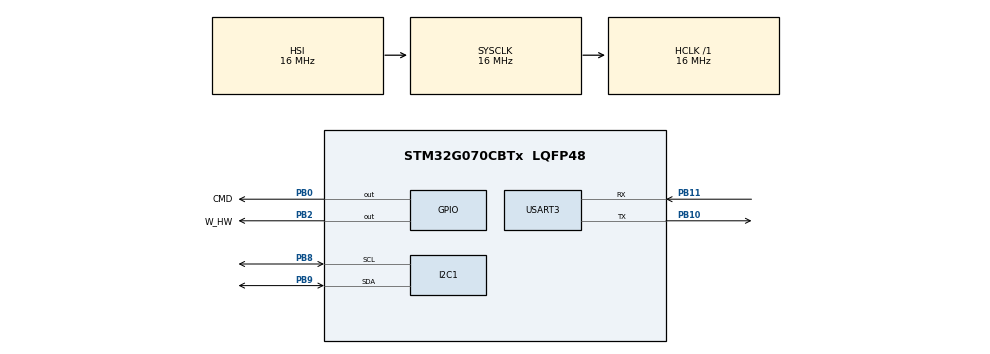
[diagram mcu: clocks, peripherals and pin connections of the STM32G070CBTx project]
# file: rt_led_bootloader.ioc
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Dma.Request0=USART3_RX
Dma.USART3_RX.0.Direction=DMA_PERIPH_TO_MEMORY
Dma.USART3_RX.0.EventEnable=DISABLE
Dma.USART3_RX.0.Instance=DMA1_Channel1
Dma.USART3_RX.0.MemDataAlignment=DMA_MDATAALIGN_BYTE
Dma.USART3_RX.0.MemInc=DMA_MINC_ENABLE
Dma.USART3_RX.0.Mode=DMA_CIRCULAR
Dma.USART3_RX.0.PeriphDataAlignment=DMA_PDATAALIGN_BYTE
Dma.USART3_RX.0.PeriphInc=DMA_PINC_DISABLE
Dma.USART3_RX.0.Polarity=HAL_DMAMUX_REQ_GEN_RISING
Dma.USART3_RX.0.Priority=DMA_PRIORITY_HIGH
Dma.USART3_RX.0.RequestNumber=1
Dma.USART3_RX.0.SignalID=NONE
Dma.USART3_RX.0.SyncEnable=DISABLE
Dma.USART3_RX.0.SyncPolarity=HAL_DMAMUX_SYNC_NO_EVENT
Dma.USART3_RX.0.SyncRequestNumber=1
Dma.USART3_RX.0.SyncSignalID=NONE
Mcu.Family=STM32G0
Mcu.Name=STM32G070CBTx
Mcu.Package=LQFP48
NVIC.DMA1_Channel1_IRQn=true\:0\:0\:false\:false\:true\:false\:true\:true
NVIC.TIM1_BRK_UP_TRG_COM_IRQn=true\:3\:0\:false\:false\:true\:false\:true\:true
NVIC.TimeBase=TIM1_BRK_UP_TRG_COM_IRQn
NVIC.TimeBaseIP=TIM1
NVIC.USART3_4_IRQn=true\:0\:0\:false\:false\:true\:true\:true\:true
PA13.Mode=Serial_Wire
PA13.Signal=SYS_SWDIO
PA14-BOOT0.Mode=Serial_Wire
PA14-BOOT0.Signal=SYS_SWCLK
PB0.GPIO_Label=CMD
PB0.PinState=GPIO_PIN_SET
PB0.Signal=GPIO_Output
PB10.Mode=Asynchronous
PB10.Signal=USART3_TX
PB11.Mode=Asynchronous
PB11.Signal=USART3_RX
PB2.GPIO_Label=W_HW
PB2.PinState=GPIO_PIN_SET
PB2.Signal=GPIO_Output
PB8.Mode=I2C
PB8.Signal=I2C1_SCL
PB9.Mode=I2C
PB9.Signal=I2C1_SDA
PC14-OSC32_IN\ (PC14).Mode=LSE-External-Oscillator
PC14-OSC32_IN\ (PC14).Signal=RCC_OSC32_IN
PC15-OSC32_OUT\ (PC15).Mode=LSE-External-Oscillator
PC15-OSC32_OUT\ (PC15).Signal=RCC_OSC32_OUT
PF0-OSC_IN\ (PF0).Mode=HSE-External-Oscillator
PF0-OSC_IN\ (PF0).Signal=RCC_OSC_IN
PF1-OSC_OUT\ (PF1).Mode=HSE-External-Oscillator
PF1-OSC_OUT\ (PF1).Signal=RCC_OSC_OUT
ProjectManager.HeapSize=0x200
ProjectManager.StackSize=0x400
ProjectManager.TargetToolchain=STM32CubeIDE
RCC.AHBFreq_Value=16000000
RCC.CortexFreq_Value=16000000
RCC.EXTERNAL_CLOCK_VALUE=48000
RCC.HCLKFreq_Value=16000000
RCC.HSE_VALUE=8000000
RCC.HSI_VALUE=16000000
RCC.SYSCLKFreq_VALUE=16000000
RCC.VCOOutputFreq_Value=128000000
USART3.VirtualMode-Asynchronous=VM_ASYNC
VP_SYS_VS_DBSignals.Mode=DisableDeadBatterySignals
VP_SYS_VS_tim1.Mode=TIM1
board=custom

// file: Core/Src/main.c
/* USER CODE BEGIN Header */
/**
 ******************************************************************************
 * @file           : main.c
 * @brief          : Main program body
 ******************************************************************************
 * @attention
 *
 * Copyright (c) 2023 STMicroelectronics.
 * All rights reserved.
 *
 * This software is licensed under terms that can be found in the LICENSE file
 * in the root directory of this software component.
 * If no LICENSE file comes with this software, it is provided AS-IS.
 *
 ******************************************************************************
 */
/* USER CODE END Header */
#include "main.h"

/* USER CODE BEGIN Includes */
#include "display.h"
#include "ble.h"
/* USER CODE END Includes */

I2C_HandleTypeDef hi2c1;

UART_HandleTypeDef huart3;
DMA_HandleTypeDef hdma_usart3_rx;

/* USER CODE BEGIN PV */
const uint32_t APPLICATION_ADDRESS = 0x8005000;
volatile uint8_t _huart3_buffer[2] = { 0 };
/* USER CODE END PV */

void SystemClock_Config(void);
static void MX_GPIO_Init(void);
static void MX_DMA_Init(void);
static void MX_I2C1_Init(void);
static void MX_USART3_UART_Init(void);

/* USER CODE BEGIN 0 */
void HAL_UART_ErrorCallback(UART_HandleTypeDef *huart) {
	if (huart == &huart3) {
		HAL_UART_Receive_DMA(huart, (uint8_t*) &_huart3_buffer[0], 2);
	}
}

void HAL_UART_RxCpltCallback(UART_HandleTypeDef *huart) {
	if (huart == &huart3) {
		ble_push_byte(_huart3_buffer[1]);
	}
}

void HAL_UART_RxHalfCpltCallback(UART_HandleTypeDef *huart) {
	if (huart == &huart3) {
		ble_push_byte(_huart3_buffer[0]);
	}
}

typedef void (*pFunction)(void);

static void jumpToApplication() {
	pFunction appEntry;
	uint32_t appStack;

	SysTick->CTRL = 0;
	SCB->ICSR |= SCB_ICSR_PENDSTCLR_Msk;

	HAL_DeInit();

	SCB->VTOR = APPLICATION_ADDRESS;
	appStack = (uint32_t) *((__IO uint32_t*) APPLICATION_ADDRESS);
	appEntry = (pFunction) *(__IO uint32_t*) (APPLICATION_ADDRESS + 4);

	__set_MSP(appStack);
	appEntry();

}

int _ble_module_connected = 0;
/* USER CODE END 0 */

int main(void)
{

  /* MCU Configuration--------------------------------------------------------*/

  /* Reset of all peripherals, Initializes the Flash interface and the Systick. */
  HAL_Init();

  /* Configure the system clock */
  SystemClock_Config();

  /* Initialize all configured peripherals */
  MX_GPIO_Init();
  MX_DMA_Init();
  MX_I2C1_Init();
  MX_USART3_UART_Init();
  /* USER CODE BEGIN 2 */

	// Init I2C Display
	display_init();

	HAL_UART_Receive_DMA(&huart3, (uint8_t *)&_huart3_buffer[0], 2);

	HAL_GPIO_WritePin(CMD_GPIO_Port, CMD_Pin, GPIO_PIN_RESET);
	HAL_Delay(10);
	HAL_GPIO_WritePin(CMD_GPIO_Port, CMD_Pin, GPIO_PIN_SET);

	// Draw dot matrix animation
	{
		dm_render_clear();
		for (int i = 0; i < 16; ++i) {
			dm_render_column_line(i);
			display_update();
			HAL_Delay(35);
		}
		dm_render_clear();
		display_update();
	}

	HAL_Delay(500);

	// Check if BLE module is connected
	{
		if (ble_module_is_connected()) {
			_ble_module_connected = 1;
			if (ble_module_dfu_available()) {
				ble_module_dfu_handle();
			}
		}
	}

	//ble_module_dfu_handle();

	jumpToApplication();
  /* USER CODE END 2 */

  /* Infinite loop */
	while (1) {

	}
}

void SystemClock_Config(void)
{
  RCC_OscInitTypeDef RCC_OscInitStruct = {0};
  RCC_ClkInitTypeDef RCC_ClkInitStruct = {0};

  /** Configure the main internal regulator output voltage
  */
  HAL_PWREx_ControlVoltageScaling(PWR_REGULATOR_VOLTAGE_SCALE1);

  /** Initializes the RCC Oscillators according to the specified parameters
  * in the RCC_OscInitTypeDef structure.
  */
  RCC_OscInitStruct.OscillatorType = RCC_OSCILLATORTYPE_HSI;
  RCC_OscInitStruct.HSIState = RCC_HSI_ON;
  RCC_OscInitStruct.HSIDiv = RCC_HSI_DIV1;
  RCC_OscInitStruct.HSICalibrationValue = RCC_HSICALIBRATION_DEFAULT;
  RCC_OscInitStruct.PLL.PLLState = RCC_PLL_NONE;
  if (HAL_RCC_OscConfig(&RCC_OscInitStruct) != HAL_OK)
  {
    Error_Handler();
  }

  /** Initializes the CPU, AHB and APB buses clocks
  */
  RCC_ClkInitStruct.ClockType = RCC_CLOCKTYPE_HCLK|RCC_CLOCKTYPE_SYSCLK
                              |RCC_CLOCKTYPE_PCLK1;
  RCC_ClkInitStruct.SYSCLKSource = RCC_SYSCLKSOURCE_HSI;
  RCC_ClkInitStruct.AHBCLKDivider = RCC_SYSCLK_DIV1;
  RCC_ClkInitStruct.APB1CLKDivider = RCC_HCLK_DIV1;

  if (HAL_RCC_ClockConfig(&RCC_ClkInitStruct, FLASH_LATENCY_0) != HAL_OK)
  {
    Error_Handler();
  }
}

static void MX_I2C1_Init(void)
{

  hi2c1.Instance = I2C1;
  hi2c1.Init.Timing = 0x00303D5B;
  hi2c1.Init.OwnAddress1 = 0;
  hi2c1.Init.AddressingMode = I2C_ADDRESSINGMODE_7BIT;
  hi2c1.Init.DualAddressMode = I2C_DUALADDRESS_DISABLE;
  hi2c1.Init.OwnAddress2 = 0;
  hi2c1.Init.OwnAddress2Masks = I2C_OA2_NOMASK;
  hi2c1.Init.GeneralCallMode = I2C_GENERALCALL_DISABLE;
  hi2c1.Init.NoStretchMode = I2C_NOSTRETCH_DISABLE;
  if (HAL_I2C_Init(&hi2c1) != HAL_OK)
  {
    Error_Handler();
  }

  /** Configure Analogue filter
  */
  if (HAL_I2CEx_ConfigAnalogFilter(&hi2c1, I2C_ANALOGFILTER_ENABLE) != HAL_OK)
  {
    Error_Handler();
  }

  /** Configure Digital filter
  */
  if (HAL_I2CEx_ConfigDigitalFilter(&hi2c1, 0) != HAL_OK)
  {
    Error_Handler();
  }

}

static void MX_USART3_UART_Init(void)
{

  huart3.Instance = USART3;
  huart3.Init.BaudRate = 115200;
  huart3.Init.WordLength = UART_WORDLENGTH_8B;
  huart3.Init.StopBits = UART_STOPBITS_1;
  huart3.Init.Parity = UART_PARITY_NONE;
  huart3.Init.Mode = UART_MODE_TX_RX;
  huart3.Init.HwFlowCtl = UART_HWCONTROL_NONE;
  huart3.Init.OverSampling = UART_OVERSAMPLING_16;
  huart3.Init.OneBitSampling = UART_ONE_BIT_SAMPLE_DISABLE;
  huart3.Init.ClockPrescaler = UART_PRESCALER_DIV1;
  huart3.AdvancedInit.AdvFeatureInit = UART_ADVFEATURE_NO_INIT;
  if (HAL_UART_Init(&huart3) != HAL_OK)
  {
    Error_Handler();
  }

}

static void MX_DMA_Init(void)
{

  /* DMA controller clock enable */
  __HAL_RCC_DMA1_CLK_ENABLE();

  /* DMA interrupt init */
  /* DMA1_Channel1_IRQn interrupt configuration */
  HAL_NVIC_SetPriority(DMA1_Channel1_IRQn, 0, 0);
  HAL_NVIC_EnableIRQ(DMA1_Channel1_IRQn);

}

static void MX_GPIO_Init(void)
{
  GPIO_InitTypeDef GPIO_InitStruct = {0};

  /* GPIO Ports Clock Enable */
  __HAL_RCC_GPIOC_CLK_ENABLE();
  __HAL_RCC_GPIOF_CLK_ENABLE();
  __HAL_RCC_GPIOB_CLK_ENABLE();
  __HAL_RCC_GPIOA_CLK_ENABLE();

  /*Configure GPIO pin Output Level */
  HAL_GPIO_WritePin(GPIOB, CMD_Pin|W_HW_Pin, GPIO_PIN_SET);

  /*Configure GPIO pins : CMD_Pin W_HW_Pin */
  GPIO_InitStruct.Pin = CMD_Pin|W_HW_Pin;
  GPIO_InitStruct.Mode = GPIO_MODE_OUTPUT_PP;
  GPIO_InitStruct.Pull = GPIO_NOPULL;
  GPIO_InitStruct.Speed = GPIO_SPEED_FREQ_LOW;
  HAL_GPIO_Init(GPIOB, &GPIO_InitStruct);

}

void HAL_TIM_PeriodElapsedCallback(TIM_HandleTypeDef *htim)
{
  if (htim->Instance == TIM1) {
    HAL_IncTick();
  }
}

void Error_Handler(void)
{
	__disable_irq();
	while (1) {
	}
}
